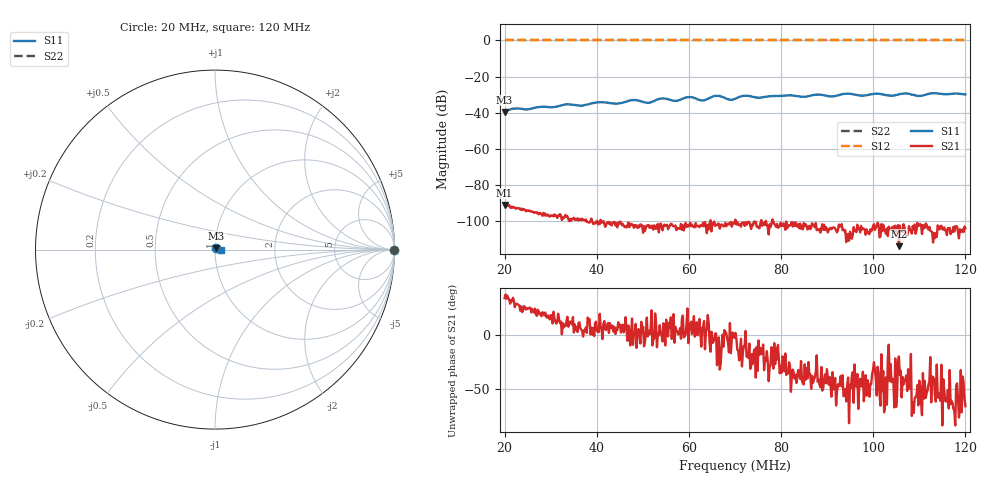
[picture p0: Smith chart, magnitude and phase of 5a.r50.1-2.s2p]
! Anritsu VNA Master:  Model: MS2036C/10/77
! SN:  1601066
! /card0/usr/18may27.balun/5a..r50.s2p
! Existing Calibration Information:
! TYPE:  Current Settings,  Active Cal Settings
! TIME:  05/27/2018 04:57:59 PM,  05/27/2018 04:42:15 PM
! INTERNAL TEMP:  53.5 C,  52.0 C
! # POINTS:  500,  500
! START FREQ:  20.000 MHz,  20.000 MHz
! STOP FREQ:  120.000 MHz,  120.000 MHz
! SOURCE POWER:  High,  High
! IFBW:  50 Hz,  50 Hz
! AVG FACTOR:  1 ,  1
! REF PLANE 1:  0 mm,  0 mm
! REF PLANE 2:  0 mm,  0 mm
! CAL TYPE:  Full S11,  Full S11
! CAL METHOD:  SOLT,  SOLT
! CAL LINE TYPE:  Coax,  Coax
! DUT PORT 1:  K-Conn(M),  K-Conn(M)
! DUT PORT 2:  K-Conn(M),  K-Conn(M)
! CAL STATUS:  OK: Accuracy High,  --
# GHZ S DB R 50.0
! FREQ.GHZ  S11DB  S11A  S21DB  S21A  S12DB  S12A  S22DB  S22A
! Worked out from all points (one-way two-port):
!   500 points, 20 MHz to 120 MHz, reference 50 ohm
!   highest |S21| = -91.11 dB at 20 MHz (marker M1); lowest = -113.9 dB at 105.6 MHz (marker M2)
!   lowest |S11| = -39.6 dB at 20 MHz (marker M3), VSWR 1.02, Z = 50.7 + j0.804 ohm
!   |S11| at or under -10 dB: start of sweep to end of sweep
!   |S22| runs from 0.0 to 0.0 dB; largest |S21 - S12| = 1
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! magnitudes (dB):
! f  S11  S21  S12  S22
! 20 MHz  -39.6  -91.1  0.0  0.0
! 21.8 MHz  -37.7  -92.5  0.0  0.0
! 24.81 MHz  -38.2  -94.0  0.0  0.0
! 33.43 MHz  -35.4  -97.6  0.0  0.0
! 36.83 MHz  -36.1  -98.7  0.0  0.0
! 40.64 MHz  -34.2  -101.7  0.0  0.0
! 44.65 MHz  -34.9  -100.7  0.0  0.0
! 47.86 MHz  -33.0  -102.2  0.0  0.0
! 51.26 MHz  -34.5  -102.1  0.0  0.0
! 53.47 MHz  -32.4  -106.3  0.0  0.0
! 57.07 MHz  -33.5  -102.4  0.0  0.0
! 60.28 MHz  -31.4  -100.9  0.0  0.0
! 63.09 MHz  -33.2  -100.9  0.0  0.0
! 66.09 MHz  -30.6  -102.1  0.0  0.0
! 68.9 MHz  -32.8  -100.9  0.0  0.0
! 70.1 MHz  -32.2  -99.2  0.0  0.0
! 72.1 MHz  -30.6  -102.6  0.0  0.0
! 75.11 MHz  -31.7  -103.6  0.0  0.0
! 86.73 MHz  -30.3  -101.2  0.0  0.0
! 103.4 MHz  -30.4  -103.0  0.0  0.0
! 105.6 MHz  -29.8  -113.9  0.0  0.0
! 120 MHz  -29.9  -104.0  0.0  0.0
